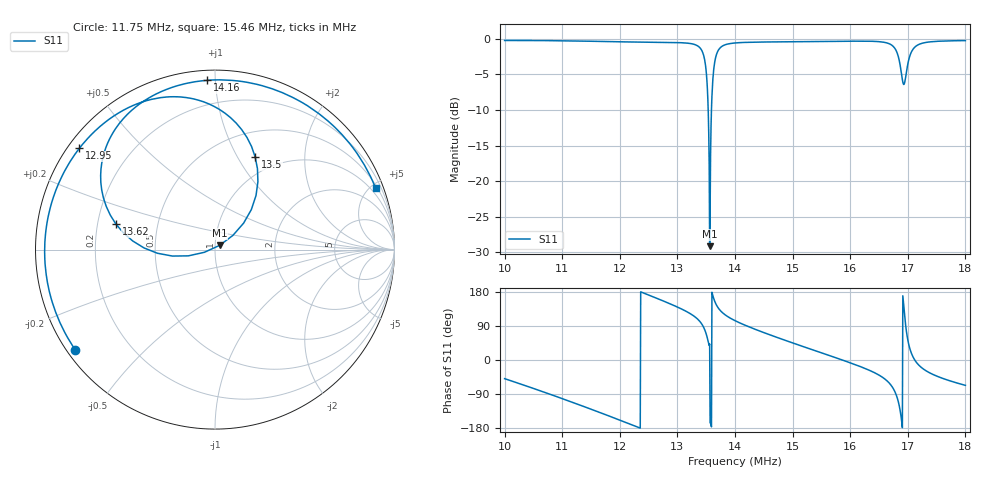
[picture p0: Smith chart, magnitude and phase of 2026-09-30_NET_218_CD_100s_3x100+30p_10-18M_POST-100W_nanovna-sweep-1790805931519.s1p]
! NanoVNA Web complex sweep
! Processing: unaveraged complex samples; linear segment spacing; no smoothing
# Hz S RI R 50
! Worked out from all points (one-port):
!   1010 points, 10 MHz to 18 MHz, reference 50 ohm
!   lowest |S11| = -29.1 dB at 13.56 MHz (marker M1), VSWR 1.07, Z = 52.6 + j2.48 ohm
!   |S11| at or under -10 dB: 13.53465 MHz to 13.5914 MHz (56.75 kHz wide, 0.418 % of centre)
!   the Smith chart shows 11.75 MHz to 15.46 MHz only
!   S11 on the Smith chart (normalised r, x): 11.75 MHz: 0.02, -0.32; 12.95 MHz: 0.03, +0.33; 13.5 MHz: 0.79, +1.19; 13.62 MHz: 0.28, +0.12; 14.16 MHz: 0.05, +0.95; 15.46 MHz: 0.64, +5.35
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1e7  0.6361 -0.7383
1.100698e7  -0.2057 -0.9476
1.175231e7  -0.7773 -0.5599
1.200604e7  -0.8903 -0.3415
1.294959e7  -0.755 0.5652
1.300509e7  -0.7148 0.6132
1.337775e7  -0.2094 0.8513
1.344912e7  0.0238 0.7816
1.350462e7  0.2238 0.5162
1.356012e7  0.0258 0.0236
1.359184e7  -0.3207 -0.0204
1.362355e7  -0.552 0.1422
1.375835e7  -0.5444 0.6874
1.400414e7  -0.2193 0.9104
1.416272e7  -0.0424 0.9433
1.50032e7  0.6754 0.674
1.546308e7  0.895 0.3417
1.600225e7  0.9537 -0.1257
1.651764e7  0.716 -0.6314
1.677137e7  0.1193 -0.8542
1.68348e7  -0.2517 -0.7101
1.689823e7  -0.5291 -0.1195
1.695373e7  -0.13 0.4937
1.700131e7  0.4079 0.5282
1.707267e7  0.7979 0.2023
1.717574e7  0.8903 -0.1727
1.747705e7  0.7259 -0.6275
1.800036e7  0.3811 -0.8946
